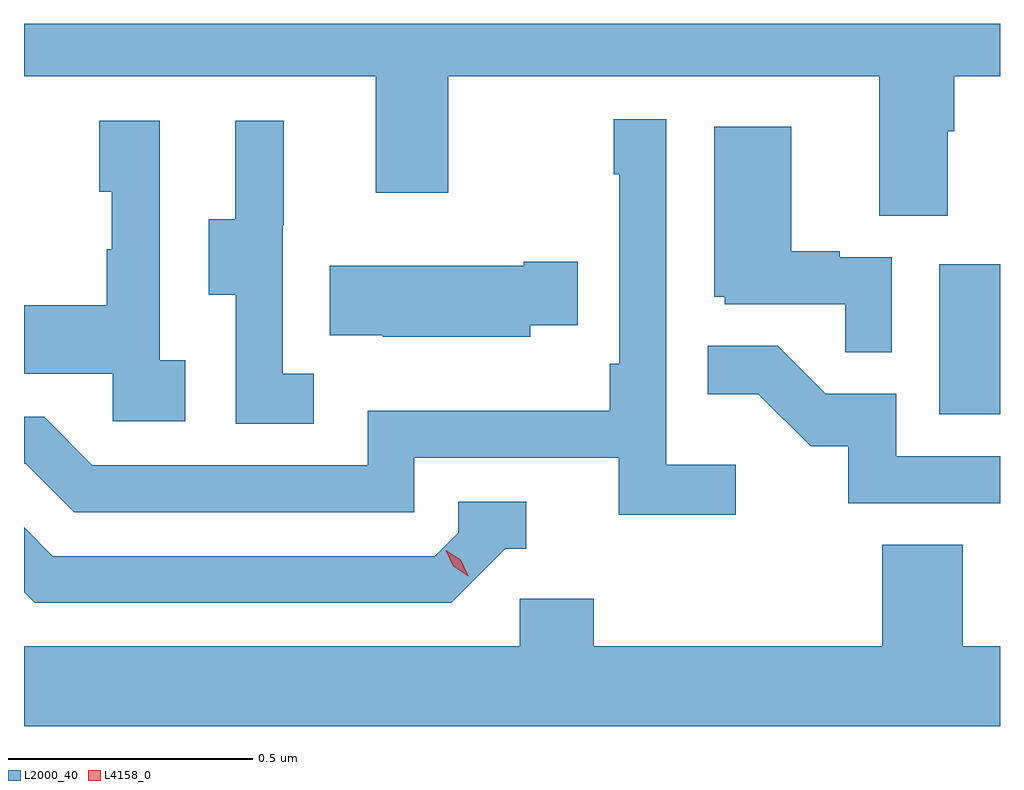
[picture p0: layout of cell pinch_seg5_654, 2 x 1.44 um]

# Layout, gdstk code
import gdstk
lib = gdstk.Library(unit=1e-6, precision=1e-09)
def R(c, l, rs):  # rectangles x0, y0, x1, y1
    for r in rs: c.add(gdstk.rectangle(r[:2], r[2:], *l))
def P(c, l, *ps):  # polygons
    for p in ps: c.add(gdstk.Polygon(p, *l))
L2000_40 = (2000, 40)
L4158_0 = (4158, 0)

pinch_seg5_654 = lib.new_cell('pinch_seg5_654')
R(pinch_seg5_654, L2000_40, [(1039.598,853.404,1039.722,853.711)])
P(pinch_seg5_654, L2000_40, [(1039.615,853.984),(1039.628,853.984),(1039.628,854.096),(1039.722,854.096),(1039.722,854.204),(1037.722,854.204),(1037.722,854.096),(1038.443,854.096),(1038.443,853.857),(1038.591,853.857),(1038.591,854.096),(1039.475,854.096),(1039.475,853.81),(1039.615,853.81)],
  [(1039.18,853.3),(1039.038,853.3),(1039.038,854.008),(1038.93,854.008),(1038.93,853.895),(1038.942,853.895),(1038.942,853.507),(1038.922,853.507),(1038.922,853.411),(1038.426,853.411),(1038.426,853.299),(1037.862,853.299),(1037.763,853.398),(1037.722,853.398),(1037.722,853.302),(1037.726,853.302),(1037.825,853.203),(1038.522,853.203),(1038.522,853.314),(1038.941,853.314),(1038.941,853.198),(1039.18,853.198)],
  [(1038.316,853.487),(1038.252,853.487),(1038.252,853.791),(1038.254,853.791),(1038.254,854.005),(1038.155,854.005),(1038.155,853.803),(1038.101,853.803),(1038.101,853.648),(1038.156,853.648),(1038.156,853.384),(1038.316,853.384)],
  [(1038.052,853.514),(1038,853.514),(1038,854.005),(1037.876,854.005),(1037.876,853.86),(1037.902,853.86),(1037.902,853.742),(1037.892,853.742),(1037.892,853.627),(1037.722,853.627),(1037.722,853.487),(1037.904,853.487),(1037.904,853.389),(1038.052,853.389)],
  [(1039.5,853.725),(1039.394,853.725),(1039.394,853.738),(1039.294,853.738),(1039.294,853.993),(1039.136,853.993),(1039.136,853.644),(1039.158,853.644),(1039.158,853.629),(1039.405,853.629),(1039.405,853.531),(1039.5,853.531)],
  [(1038.759,853.586),(1038.857,853.586),(1038.857,853.716),(1038.746,853.716),(1038.746,853.708),(1038.349,853.708),(1038.349,853.565),(1038.457,853.565),(1038.457,853.562),(1038.759,853.562)],
  [(1039.722,853.317),(1039.509,853.317),(1039.509,853.446),(1039.365,853.446),(1039.267,853.544),(1039.123,853.544),(1039.123,853.445),(1039.227,853.445),(1039.334,853.338),(1039.411,853.338),(1039.411,853.221),(1039.722,853.221)],
  [(1038.708,853.128),(1038.751,853.128),(1038.751,853.224),(1038.612,853.224),(1038.612,853.161),(1038.564,853.113),(1037.781,853.113),(1037.722,853.172),(1037.722,853.039),(1037.744,853.017),(1038.597,853.017)],
  [(1039.722,852.928),(1039.646,852.928),(1039.646,853.136),(1039.481,853.136),(1039.481,852.928),(1038.89,852.928),(1038.89,853.026),(1038.738,853.026),(1038.738,852.928),(1037.722,852.928),(1037.722,852.764),(1039.722,852.764)])
P(pinch_seg5_654, L4158_0, [(1038.632,853.072),(1038.602,853.092),(1038.586,853.125),(1038.586,853.125),(1038.586,853.125),(1038.617,853.105),(1038.632,853.073),(1038.632,853.072)])

lib.write_gds('pinch_seg5_654.gds')
